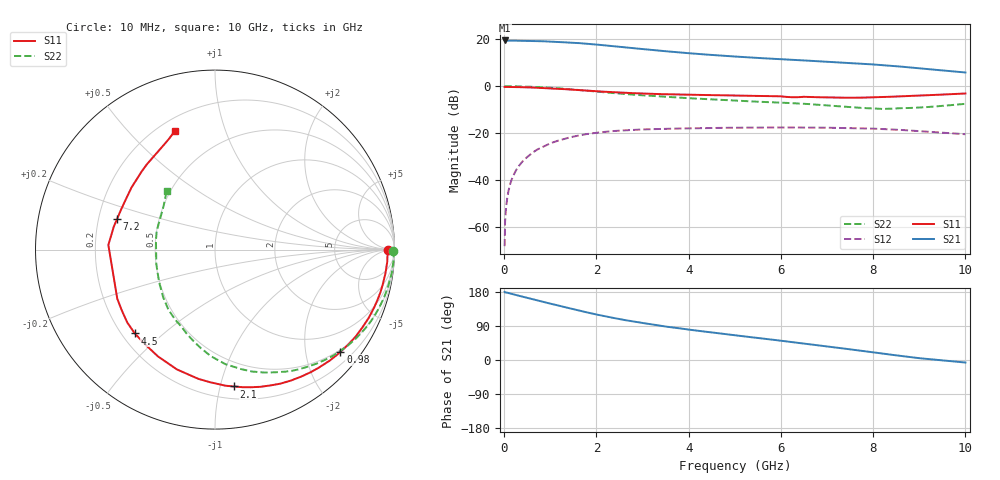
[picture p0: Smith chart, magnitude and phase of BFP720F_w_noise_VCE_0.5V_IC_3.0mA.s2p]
! Infineon Technologies  Discrete & RF Semiconductors
! BFP720F
! VCE =  0.5 V,  IC =  3.0 mA
! Common Emitter S-Parameters:  Jan 2016
# GHz  S  MA  R  50
!  f  S11  S21  S12  S22
! GHz  MAG  ANG  MAG  ANG  MAG  ANG  MAG  ANG
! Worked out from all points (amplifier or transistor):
!   233 points, 10 MHz to 10 GHz, reference 50 ohm
!   highest |S21| = 19.4 dB at 10 MHz (marker M1)
!   |S21| within 3 dB of that: start of sweep to 2.65 GHz
!   unconditionally stable (mu >= 1): start of sweep to 10.03193 MHz; 9.185 GHz to end of sweep
!   at 200 MHz: K = 0.02, MSG = 28.7 dB, |S12| = -38.1 dB
!   at 1.74 GHz: K = 0.18, MSG = 19.3 dB, |S12| = -20.5 dB
!   at 10 GHz: K = 1.07, MAG = 11.5 dB, |S12| = -20.4 dB
!   lowest NFmin = 0.40 dB at 450 MHz
!   S11 on the Smith chart (normalised r, x): 10 MHz: 54, -5; 980 MHz: 0.45, -2.74; 2.1 GHz: 0.30, -1.10; 4.5 GHz: 0.25, -0.40; 7.2 GHz: 0.28, +0.14; 10 GHz: 0.26, +0.69
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0.01  0.9641 -0.2  9.353 179.7  0.0004 -25.7  0.9925 -0.3
0.02  0.9644 -0.8  9.133 178.1  0.0013 93.1  0.9992 -1.3
0.045  0.9619 -1.9  9.244 178.2  0.0028 91.3  0.9967 -1.6
0.17  0.9592 -6.7  9.269 174.3  0.0108 85.4  0.9948 -5.5
0.54  0.9407 -21.4  9.12 162.9  0.0338 75.4  0.9744 -17.6
0.8  0.9208 -32.0  9.034 155.0  0.0495 68.2  0.952 -26.0
0.98  0.9017 -39.2  8.877 149.4  0.0599 63.0  0.9292 -31.9
1.3  0.8666 -52.0  8.556 139.9  0.0761 54.4  0.8836 -42.1
1.68  0.8192 -67.2  8.137 128.8  0.0921 44.5  0.8196 -53.9
2.1  0.7698 -82.1  7.492 117.7  0.1051 34.7  0.7527 -65.3
2.4  0.7411 -91.6  6.997 110.3  0.1121 28.3  0.7099 -73.1
2.78  0.712 -102.1  6.431 101.9  0.1177 21.4  0.6617 -80.8
3.4  0.6779 -116.0  5.638 90.3  0.1237 12.1  0.6025 -90.7
4  0.656 -126.5  5.017 80.1  0.1274 4.4  0.5556 -98.0
4.5  0.6465 -133.7  4.606 72.5  0.1297 -1.2  0.5246 -103.1
5.1  0.6318 -141.6  4.204 63.8  0.1315 -7.6  0.4899 -109.3
6  0.6094 -153.3  3.738 50.9  0.133 -17.0  0.449 -119.6
6.8  0.5825 171.4  3.388 38.9  0.1317 -25.5  0.4041 -133.2
7.2  0.5717 162.6  3.217 32.8  0.1302 -29.8  0.3777 -142.0
8.4  0.5972 133.1  2.704 13.8  0.1206 -43.2  0.3334 170.7
9  0.6314 120.3  2.394 4.8  0.1111 -49.2  0.3519 149.7
10  0.6995 108.5  1.954 -6.7  0.0954 -55.3  0.4219 129.8
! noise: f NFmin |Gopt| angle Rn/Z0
0.45  0.4  0.62  4  0.22
0.9  0.47  0.62  12  0.22
1.8  0.5  0.6  23  0.17
2.4  0.55  0.59  30  0.16
5.5  0.77  0.44  81  0.11
10  1.13  0.28  -126  0.14
